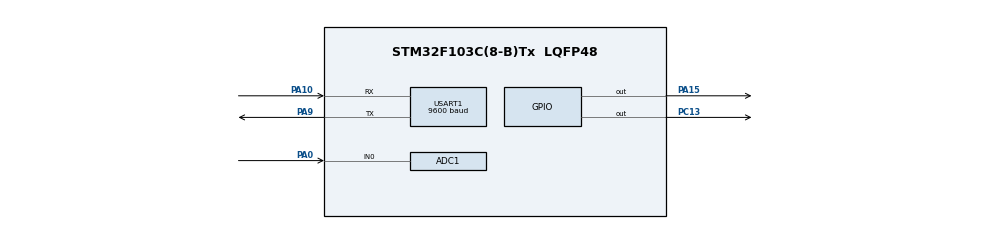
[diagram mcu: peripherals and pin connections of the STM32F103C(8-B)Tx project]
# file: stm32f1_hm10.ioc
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ADC1.Channel-0\#ChannelRegularConversion=ADC_CHANNEL_0
ADC1.NbrOfConversionFlag=1
ADC1.Rank-0\#ChannelRegularConversion=1
ADC1.SamplingTime-0\#ChannelRegularConversion=ADC_SAMPLETIME_1CYCLE_5
ADC1.master=1
Dma.Request0=USART1_RX
Dma.Request1=USART1_TX
Dma.USART1_RX.0.Direction=DMA_PERIPH_TO_MEMORY
Dma.USART1_RX.0.Instance=DMA1_Channel5
Dma.USART1_RX.0.MemDataAlignment=DMA_MDATAALIGN_BYTE
Dma.USART1_RX.0.MemInc=DMA_MINC_ENABLE
Dma.USART1_RX.0.Mode=DMA_NORMAL
Dma.USART1_RX.0.PeriphDataAlignment=DMA_PDATAALIGN_BYTE
Dma.USART1_RX.0.PeriphInc=DMA_PINC_DISABLE
Dma.USART1_RX.0.Priority=DMA_PRIORITY_LOW
Dma.USART1_TX.1.Direction=DMA_MEMORY_TO_PERIPH
Dma.USART1_TX.1.Instance=DMA1_Channel4
Dma.USART1_TX.1.MemDataAlignment=DMA_MDATAALIGN_BYTE
Dma.USART1_TX.1.MemInc=DMA_MINC_ENABLE
Dma.USART1_TX.1.Mode=DMA_NORMAL
Dma.USART1_TX.1.PeriphDataAlignment=DMA_PDATAALIGN_BYTE
Dma.USART1_TX.1.PeriphInc=DMA_PINC_DISABLE
Dma.USART1_TX.1.Priority=DMA_PRIORITY_LOW
Mcu.Family=STM32F1
Mcu.Name=STM32F103C(8-B)Tx
Mcu.Package=LQFP48
NVIC.DMA1_Channel4_IRQn=true\:0\:0\:false\:false\:true\:false\:true\:true
NVIC.DMA1_Channel5_IRQn=true\:0\:0\:false\:false\:true\:false\:true\:true
NVIC.PriorityGroup=NVIC_PRIORITYGROUP_4
PA0-WKUP.Signal=ADCx_IN0
PA10.Mode=Asynchronous
PA10.Signal=USART1_RX
PA13.Mode=Serial_Wire
PA13.Signal=SYS_JTMS-SWDIO
PA14.Mode=Serial_Wire
PA14.Signal=SYS_JTCK-SWCLK
PA15.Signal=GPIO_Output
PA9.Mode=Asynchronous
PA9.Signal=USART1_TX
PC13-TAMPER-RTC.Signal=GPIO_Output
ProjectManager.HeapSize=0x200
ProjectManager.StackSize=0x400
ProjectManager.TargetToolchain=STM32CubeIDE
RCC.APB1Freq_Value=8000000
RCC.APB2Freq_Value=8000000
SH.ADCx_IN0.0=ADC1_IN0,IN0
USART1.BaudRate=9600
USART1.VirtualMode=VM_ASYNC
board=custom

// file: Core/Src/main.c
/* USER CODE BEGIN Header */
/**
  ******************************************************************************
  * @file           : main.c
  * @brief          : Main program body
  ******************************************************************************
  * @attention
  *
  * Copyright (c) 2025 STMicroelectronics.
  * All rights reserved.
  *
  * This software is licensed under terms that can be found in the LICENSE file
  * in the root directory of this software component.
  * If no LICENSE file comes with this software, it is provided AS-IS.
  *
  ******************************************************************************
  */
/* USER CODE END Header */
#include "main.h"

/* USER CODE BEGIN Includes */
#define LED_PIN GPIO_PIN_15
#include <stdio.h>
#include <string.h>
/* USER CODE END Includes */

ADC_HandleTypeDef hadc1;

UART_HandleTypeDef huart1;
DMA_HandleTypeDef hdma_usart1_rx;
DMA_HandleTypeDef hdma_usart1_tx;

/* USER CODE BEGIN PV */
char buffer[50];
char rxBuffer[20];
uint32_t threshold = 1200;
/* USER CODE END PV */

void SystemClock_Config(void);
static void MX_GPIO_Init(void);
static void MX_DMA_Init(void);
static void MX_ADC1_Init(void);
static void MX_USART1_UART_Init(void);

/* USER CODE BEGIN 0 */
uint32_t Read_Light_Sensor(void) { // read ADC from hadc1 channel
    HAL_ADC_Start(&hadc1);
    HAL_ADC_PollForConversion(&hadc1, 100);
    uint32_t value = HAL_ADC_GetValue(&hadc1);
    HAL_ADC_Stop(&hadc1);
    return value;
}

float Convert_ADC_to_Lux(uint32_t adc_value) { // Convert ADC value to Lux (illustration because of not have true reference)
    float Vref = 3.3;  // STM32 reference voltage (adjust if different)
    float Vout = (adc_value / 4095.0) * Vref;  // Convert ADC to voltage

    // Example: Assuming sensor output 0.1V = 1 Lux, 1V = 10 Lux, etc.
    float Lux = Vout * 100.0;  // Adjust multiplier based on sensor datasheet

    return Lux;
}

void Send_Data_To_Bluetooth(uint32_t light_value) { // Broadcast data throught bluetooth
	char buffer[50];
	float lux = Convert_ADC_to_Lux(light_value);
	sprintf(buffer, "LUX: %.2f\r\n", lux);
	HAL_UART_Transmit(&huart1, (uint8_t*)buffer, strlen(buffer), HAL_MAX_DELAY);
}

void check_HM10_OK(void) { // Function help check connection with HM-10 BLE module
	char rxBuffer[20];
    char atCommand[] = "AT\r\n";

    HAL_UART_Transmit(&huart1, (uint8_t*)atCommand, strlen(atCommand), HAL_MAX_DELAY);

    memset(rxBuffer, 0, sizeof(rxBuffer));

    if (HAL_UART_Receive(&huart1, (uint8_t*)rxBuffer, sizeof(rxBuffer), 1000) == HAL_OK) {

    	HAL_UART_Transmit(&huart1, (uint8_t*)rxBuffer, strlen(rxBuffer), HAL_MAX_DELAY);
    }
}

/* USER CODE END 0 */

int main(void)
{

  /* MCU Configuration--------------------------------------------------------*/

  /* Reset of all peripherals, Initializes the Flash interface and the Systick. */
  HAL_Init();

  /* Configure the system clock */
  SystemClock_Config();

  /* Initialize all configured peripherals */
  MX_GPIO_Init();
  MX_DMA_Init();
  MX_ADC1_Init();
  MX_USART1_UART_Init();

  /* Infinite loop */
  /* USER CODE BEGIN WHILE */

  uint32_t lastSendTime = 0; // flag-time to send UART periodically
  uint32_t light_value = 0; // digital value of light sensor

  while (1)
  {
	  light_value = Read_Light_Sensor();

	      if (light_value <= threshold) { // if the light is lower than threshold, the LED will be turned on
	          HAL_GPIO_WritePin(GPIOA, LED_PIN, GPIO_PIN_SET);  // Turn ON LED
	      } else {
	          HAL_GPIO_WritePin(GPIOA, LED_PIN, GPIO_PIN_RESET); // Turn OFF LED
	      }

	      // Send data every 200ms
	      if (HAL_GetTick() - lastSendTime >= 200) {
	          lastSendTime = HAL_GetTick();
	          Send_Data_To_Bluetooth(light_value);
	      }

//	  check_HM10_OK();
//	  HAL_Delay(2000); // Wait 2 seconds before sending again

	  //if button is pushed, LED on, if

    /* USER CODE END WHILE */

  }
}

void SystemClock_Config(void)
{
  RCC_OscInitTypeDef RCC_OscInitStruct = {0};
  RCC_ClkInitTypeDef RCC_ClkInitStruct = {0};
  RCC_PeriphCLKInitTypeDef PeriphClkInit = {0};

  /** Initializes the RCC Oscillators according to the specified parameters
  * in the RCC_OscInitTypeDef structure.
  */
  RCC_OscInitStruct.OscillatorType = RCC_OSCILLATORTYPE_HSI;
  RCC_OscInitStruct.HSIState = RCC_HSI_ON;
  RCC_OscInitStruct.HSICalibrationValue = RCC_HSICALIBRATION_DEFAULT;
  RCC_OscInitStruct.PLL.PLLState = RCC_PLL_NONE;
  if (HAL_RCC_OscConfig(&RCC_OscInitStruct) != HAL_OK)
  {
    Error_Handler();
  }

  /** Initializes the CPU, AHB and APB buses clocks
  */
  RCC_ClkInitStruct.ClockType = RCC_CLOCKTYPE_HCLK|RCC_CLOCKTYPE_SYSCLK
                              |RCC_CLOCKTYPE_PCLK1|RCC_CLOCKTYPE_PCLK2;
  RCC_ClkInitStruct.SYSCLKSource = RCC_SYSCLKSOURCE_HSI;
  RCC_ClkInitStruct.AHBCLKDivider = RCC_SYSCLK_DIV1;
  RCC_ClkInitStruct.APB1CLKDivider = RCC_HCLK_DIV1;
  RCC_ClkInitStruct.APB2CLKDivider = RCC_HCLK_DIV1;

  if (HAL_RCC_ClockConfig(&RCC_ClkInitStruct, FLASH_LATENCY_0) != HAL_OK)
  {
    Error_Handler();
  }
  PeriphClkInit.PeriphClockSelection = RCC_PERIPHCLK_ADC;
  PeriphClkInit.AdcClockSelection = RCC_ADCPCLK2_DIV2;
  if (HAL_RCCEx_PeriphCLKConfig(&PeriphClkInit) != HAL_OK)
  {
    Error_Handler();
  }
}

static void MX_ADC1_Init(void)
{

  ADC_ChannelConfTypeDef sConfig = {0};

  /** Common config
  */
  hadc1.Instance = ADC1;
  hadc1.Init.ScanConvMode = ADC_SCAN_DISABLE;
  hadc1.Init.ContinuousConvMode = DISABLE;
  hadc1.Init.DiscontinuousConvMode = DISABLE;
  hadc1.Init.ExternalTrigConv = ADC_SOFTWARE_START;
  hadc1.Init.DataAlign = ADC_DATAALIGN_RIGHT;
  hadc1.Init.NbrOfConversion = 1;
  if (HAL_ADC_Init(&hadc1) != HAL_OK)
  {
    Error_Handler();
  }

  /** Configure Regular Channel
  */
  sConfig.Channel = ADC_CHANNEL_0;
  sConfig.Rank = ADC_REGULAR_RANK_1;
  sConfig.SamplingTime = ADC_SAMPLETIME_1CYCLE_5;
  if (HAL_ADC_ConfigChannel(&hadc1, &sConfig) != HAL_OK)
  {
    Error_Handler();
  }

}

static void MX_USART1_UART_Init(void)
{

  huart1.Instance = USART1;
  huart1.Init.BaudRate = 9600;
  huart1.Init.WordLength = UART_WORDLENGTH_8B;
  huart1.Init.StopBits = UART_STOPBITS_1;
  huart1.Init.Parity = UART_PARITY_NONE;
  huart1.Init.Mode = UART_MODE_TX_RX;
  huart1.Init.HwFlowCtl = UART_HWCONTROL_NONE;
  huart1.Init.OverSampling = UART_OVERSAMPLING_16;
  if (HAL_UART_Init(&huart1) != HAL_OK)
  {
    Error_Handler();
  }

}

static void MX_DMA_Init(void)
{

  /* DMA controller clock enable */
  __HAL_RCC_DMA1_CLK_ENABLE();

  /* DMA interrupt init */
  /* DMA1_Channel4_IRQn interrupt configuration */
  HAL_NVIC_SetPriority(DMA1_Channel4_IRQn, 0, 0);
  HAL_NVIC_EnableIRQ(DMA1_Channel4_IRQn);
  /* DMA1_Channel5_IRQn interrupt configuration */
  HAL_NVIC_SetPriority(DMA1_Channel5_IRQn, 0, 0);
  HAL_NVIC_EnableIRQ(DMA1_Channel5_IRQn);

}

static void MX_GPIO_Init(void)
{
  GPIO_InitTypeDef GPIO_InitStruct = {0};

  /* GPIO Ports Clock Enable */
  __HAL_RCC_GPIOC_CLK_ENABLE();
  __HAL_RCC_GPIOA_CLK_ENABLE();

  /*Configure GPIO pin Output Level */
  HAL_GPIO_WritePin(GPIOC, GPIO_PIN_13, GPIO_PIN_RESET);

  /*Configure GPIO pin Output Level */
  HAL_GPIO_WritePin(GPIOA, GPIO_PIN_15, GPIO_PIN_RESET);

  /*Configure GPIO pin : PC13 */
  GPIO_InitStruct.Pin = GPIO_PIN_13;
  GPIO_InitStruct.Mode = GPIO_MODE_OUTPUT_PP;
  GPIO_InitStruct.Pull = GPIO_NOPULL;
  GPIO_InitStruct.Speed = GPIO_SPEED_FREQ_LOW;
  HAL_GPIO_Init(GPIOC, &GPIO_InitStruct);

  /*Configure GPIO pin : PA15 */
  GPIO_InitStruct.Pin = GPIO_PIN_15;
  GPIO_InitStruct.Mode = GPIO_MODE_OUTPUT_PP;
  GPIO_InitStruct.Pull = GPIO_NOPULL;
  GPIO_InitStruct.Speed = GPIO_SPEED_FREQ_LOW;
  HAL_GPIO_Init(GPIOA, &GPIO_InitStruct);

}

void Error_Handler(void)
{
  __disable_irq();
  while (1)
  {
  }
}
